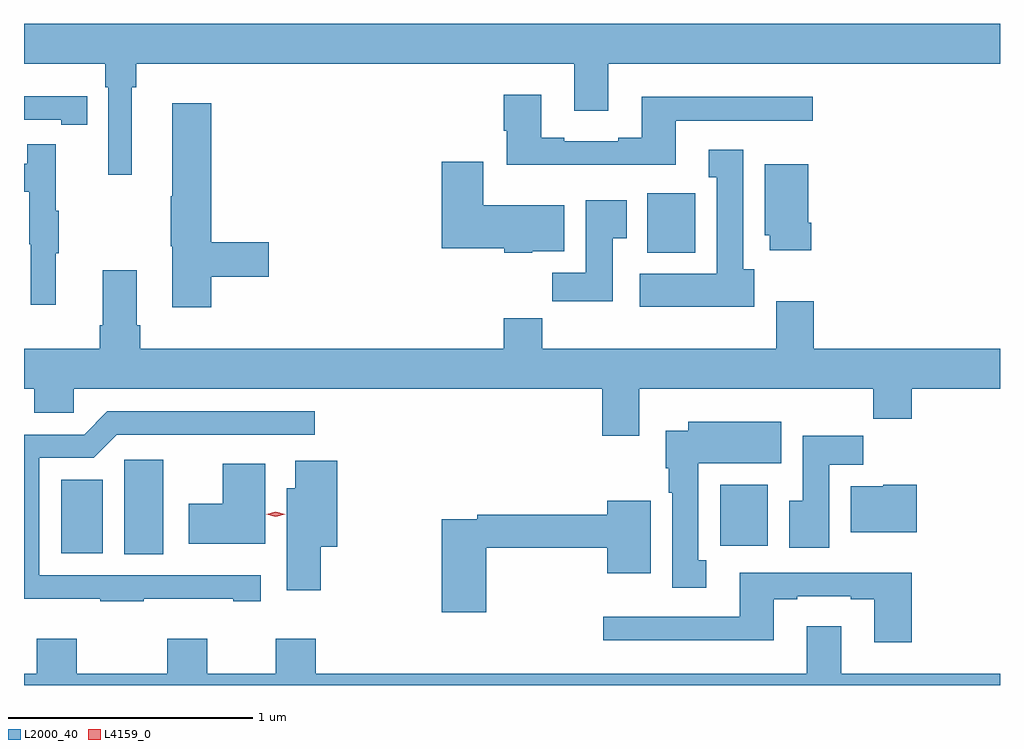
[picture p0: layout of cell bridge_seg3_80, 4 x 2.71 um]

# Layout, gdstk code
import gdstk
lib = gdstk.Library(unit=1e-6, precision=1e-09)
def R(c, l, rs):  # rectangles x0, y0, x1, y1
    for r in rs: c.add(gdstk.rectangle(r[:2], r[2:], *l))
def P(c, l, *ps):  # polygons
    for p in ps: c.add(gdstk.Polygon(p, *l))
L2000_40 = (2000, 40)
L4159_0 = (4159, 0)

bridge_seg3_80 = lib.new_cell('bridge_seg3_80')
R(bridge_seg3_80, L2000_40, [(455.072,666.937,455.233,667.324), (454.814,666.941,454.984,667.243), (457.515,666.972,457.711,667.222), (457.217,668.174,457.414,668.416)])
P(bridge_seg3_80, L2000_40, [(455.104,668.852),(455.123,668.852),(455.123,668.948),(456.917,668.948),(456.917,668.754),(457.057,668.754),(457.057,668.948),(458.662,668.948),(458.662,669.112),(454.662,669.112),(454.662,668.948),(454.994,668.948),(454.994,668.852),(455.007,668.852),(455.007,668.493),(455.104,668.493)],
  [(457.333,668.715),(457.894,668.715),(457.894,668.812),(457.193,668.812),(457.193,668.644),(457.097,668.644),(457.097,668.631),(456.877,668.631),(456.877,668.644),(456.781,668.644),(456.781,668.821),(456.629,668.821),(456.629,668.673),(456.641,668.673),(456.641,668.534),(457.333,668.534)],
  [(454.922,668.814),(454.814,668.814),(454.814,668.815),(454.662,668.815),(454.662,668.718),(454.814,668.718),(454.814,668.698),(454.922,668.698)],
  [(455.429,668.074),(455.665,668.074),(455.665,668.216),(455.429,668.216),(455.429,668.785),(455.27,668.785),(455.27,668.405),(455.263,668.405),(455.263,668.199),(455.27,668.199),(455.27,667.95),(455.429,667.95)],
  [(454.793,668.171),(454.804,668.171),(454.804,668.345),(454.793,668.345),(454.793,668.617),(454.675,668.617),(454.675,668.538),(454.662,668.538),(454.662,668.422),(454.683,668.422),(454.683,668.208),(454.69,668.208),(454.69,667.959),(454.793,667.959)],
  [(457.654,668.106),(457.609,668.106),(457.609,668.596),(457.469,668.596),(457.469,668.483),(457.502,668.483),(457.502,668.086),(457.185,668.086),(457.185,667.952),(457.654,667.952)],
  [(456.744,668.18),(456.877,668.18),(456.877,668.368),(456.544,668.368),(456.544,668.545),(456.374,668.545),(456.374,668.192),(456.63,668.192),(456.63,668.174),(456.744,668.174)],
  [(457.889,668.296),(457.876,668.296),(457.876,668.536),(457.697,668.536),(457.697,668.244),(457.718,668.244),(457.718,668.184),(457.889,668.184)],
  [(457.075,668.233),(457.132,668.233),(457.132,668.389),(456.965,668.389),(456.965,668.092),(456.826,668.092),(456.826,667.974),(457.075,667.974)],
  [(457.183,667.616),(458.143,667.616),(458.143,667.492),(458.3,667.492),(458.3,667.616),(458.662,667.616),(458.662,667.78),(457.898,667.78),(457.898,667.975),(457.745,667.975),(457.745,667.78),(456.785,667.78),(456.785,667.904),(456.629,667.904),(456.629,667.78),(455.138,667.78),(455.138,667.876),(455.125,667.876),(455.125,668.101),(454.985,668.101),(454.985,667.876),(454.973,667.876),(454.973,667.78),(454.662,667.78),(454.662,667.616),(454.703,667.616),(454.703,667.518),(454.866,667.518),(454.866,667.616),(457.031,667.616),(457.031,667.422),(457.183,667.422)],
  [(455.153,666.755),(455.519,666.755),(455.519,666.744),(455.632,666.744),(455.632,666.852),(454.725,666.852),(454.725,667.332),(454.947,667.332),(455.043,667.428),(455.854,667.428),(455.854,667.524),(455.004,667.524),(454.908,667.428),(454.662,667.428),(454.662,666.755),(454.975,666.755),(454.975,666.744),(455.153,666.744)],
  [(457.459,666.913),(457.426,666.913),(457.426,667.31),(457.765,667.31),(457.765,667.48),(457.385,667.48),(457.385,667.444),(457.292,667.444),(457.292,667.29),(457.304,667.29),(457.304,667.19),(457.319,667.19),(457.319,666.801),(457.459,666.801)],
  [(457.963,667.304),(458.102,667.304),(458.102,667.422),(457.853,667.422),(457.853,667.156),(457.799,667.156),(457.799,666.963),(457.963,666.963)],
  [(455.879,666.968),(455.945,666.968),(455.945,667.321),(455.774,667.321),(455.774,667.207),(455.738,667.207),(455.738,666.789),(455.879,666.789)],
  [(455.65,667.309),(455.477,667.309),(455.477,667.144),(455.337,667.144),(455.337,666.98),(455.65,666.98)],
  [(458.32,667.222),(458.184,667.222),(458.184,667.216),(458.051,667.216),(458.051,667.028),(458.32,667.028)],
  [(456.557,666.964),(457.052,666.964),(457.052,666.86),(457.231,666.86),(457.231,667.156),(457.052,667.156),(457.052,667.1),(456.52,667.1),(456.52,667.08),(456.374,667.08),(456.374,666.699),(456.557,666.699)],
  [(458.3,666.862),(458.059,666.862),(458.059,666.861),(457.595,666.861),(457.595,666.681),(457.035,666.681),(457.035,666.584),(457.735,666.584),(457.735,666.753),(457.831,666.753),(457.831,666.765),(458.051,666.765),(458.051,666.753),(458.147,666.753),(458.147,666.576),(458.3,666.576)],
  [(458.011,666.643),(457.871,666.643),(457.871,666.448),(455.857,666.448),(455.857,666.592),(455.693,666.592),(455.693,666.448),(455.413,666.448),(455.413,666.592),(455.249,666.592),(455.249,666.448),(454.879,666.448),(454.879,666.592),(454.715,666.592),(454.715,666.448),(454.662,666.448),(454.662,666.4),(458.662,666.4),(458.662,666.448),(458.011,666.448)])
P(bridge_seg3_80, L4159_0, [(455.693,667.091),(455.655,667.101),(455.655,667.101),(455.655,667.101),(455.693,667.111),(455.732,667.102),(455.732,667.102),(455.732,667.101)])

lib.write_gds('bridge_seg3_80.gds')
